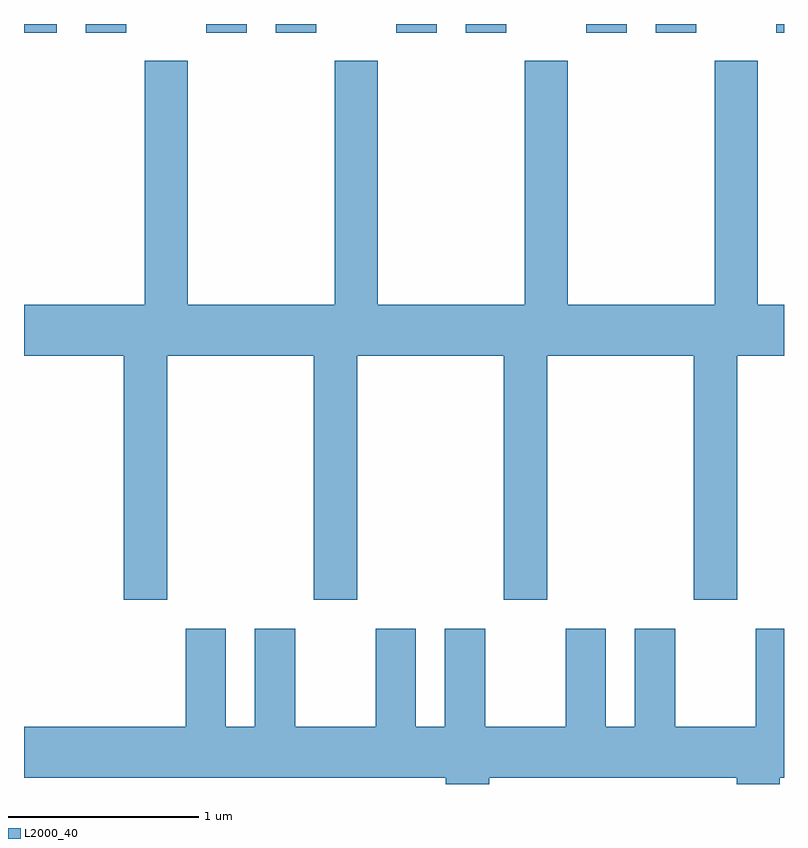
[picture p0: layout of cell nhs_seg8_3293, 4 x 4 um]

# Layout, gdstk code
import gdstk
lib = gdstk.Library(unit=1e-6, precision=1e-09)
def R(c, l, rs):  # rectangles x0, y0, x1, y1
    for r in rs: c.add(gdstk.rectangle(r[:2], r[2:], *l))
def P(c, l, *ps):  # polygons
    for p in ps: c.add(gdstk.Polygon(p, *l))
L2000_40 = (2000, 40)

nhs_seg8_3293 = lib.new_cell('nhs_seg8_3293')
R(nhs_seg8_3293, L2000_40, [(283.611,1880.296,283.784,1880.342), (283.936,1880.296,284.149,1880.342), (284.571,1880.296,284.784,1880.342), (284.936,1880.296,285.149,1880.342), (285.571,1880.296,285.784,1880.342), (285.936,1880.296,286.149,1880.342), (286.571,1880.296,286.784,1880.342), (286.936,1880.296,287.149,1880.342), (287.571,1880.296,287.611,1880.342)])
P(nhs_seg8_3293, L2000_40, [(284.364,1878.596),(285.136,1878.596),(285.136,1877.311),(285.364,1877.311),(285.364,1878.596),(286.136,1878.596),(286.136,1877.311),(286.364,1877.311),(286.364,1878.596),(287.136,1878.596),(287.136,1877.311),(287.364,1877.311),(287.364,1878.596),(287.611,1878.596),(287.611,1878.864),(287.474,1878.864),(287.474,1880.149),(287.246,1880.149),(287.246,1878.864),(286.474,1878.864),(286.474,1880.149),(286.246,1880.149),(286.246,1878.864),(285.474,1878.864),(285.474,1880.149),(285.246,1880.149),(285.246,1878.864),(284.474,1878.864),(284.474,1880.149),(284.246,1880.149),(284.246,1878.864),(283.611,1878.864),(283.611,1878.596),(284.136,1878.596),(284.136,1877.311),(284.364,1877.311)],
  [(285.461,1877.159),(285.461,1876.644),(285.039,1876.644),(285.039,1877.159),(284.826,1877.159),(284.826,1876.644),(284.674,1876.644),(284.674,1877.159),(284.461,1877.159),(284.461,1876.644),(283.611,1876.644),(283.611,1876.376),(285.831,1876.376),(285.831,1876.342),(286.059,1876.342),(286.059,1876.376),(287.361,1876.376),(287.361,1876.342),(287.589,1876.342),(287.589,1876.376),(287.611,1876.376),(287.611,1877.159),(287.461,1877.159),(287.461,1876.644),(287.039,1876.644),(287.039,1877.159),(286.826,1877.159),(286.826,1876.644),(286.674,1876.644),(286.674,1877.159),(286.461,1877.159),(286.461,1876.644),(286.039,1876.644),(286.039,1877.159),(285.826,1877.159),(285.826,1876.644),(285.674,1876.644),(285.674,1877.159)])

lib.write_gds('nhs_seg8_3293.gds')
